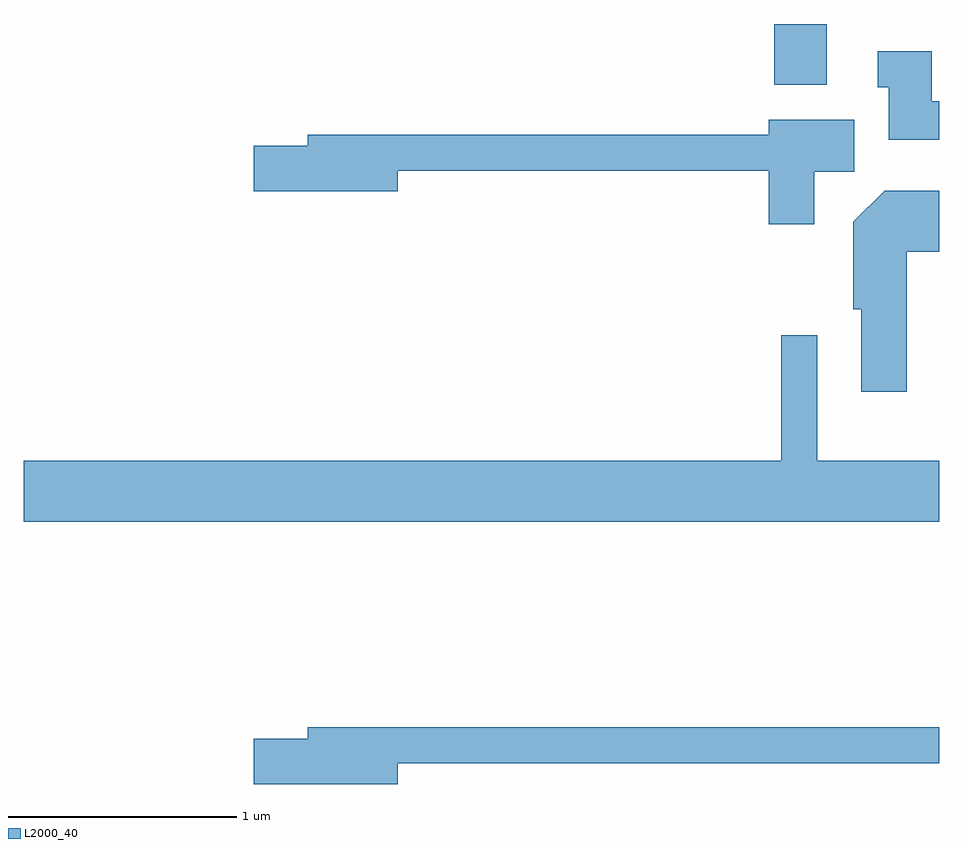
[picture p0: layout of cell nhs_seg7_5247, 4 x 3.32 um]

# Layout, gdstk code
import gdstk
lib = gdstk.Library(unit=1e-6, precision=1e-09)
def R(c, l, rs):  # rectangles x0, y0, x1, y1
    for r in rs: c.add(gdstk.rectangle(r[:2], r[2:], *l))
def P(c, l, *ps):  # polygons
    for p in ps: c.add(gdstk.Polygon(p, *l))
L2000_40 = (2000, 40)

nhs_seg7_5247 = lib.new_cell('nhs_seg7_5247')
R(nhs_seg7_5247, L2000_40, [(348.891,1733.986,349.119,1734.252)])
P(nhs_seg7_5247, L2000_40, [(349.611,1733.914),(349.579,1733.914),(349.579,1734.134),(349.343,1734.134),(349.343,1733.976),(349.391,1733.976),(349.391,1733.746),(349.611,1733.746)],
  [(349.064,1733.606),(349.239,1733.606),(349.239,1733.834),(348.866,1733.834),(348.866,1733.769),(346.851,1733.769),(346.851,1733.719),(346.616,1733.719),(346.616,1733.521),(347.244,1733.521),(347.244,1733.611),(348.866,1733.611),(348.866,1733.376),(349.064,1733.376)],
  [(349.469,1733.256),(349.611,1733.256),(349.611,1733.524),(349.374,1733.524),(349.236,1733.387),(349.236,1733.006),(349.271,1733.006),(349.271,1732.646),(349.469,1732.646)],
  [(349.611,1732.344),(349.079,1732.344),(349.079,1732.893),(348.921,1732.893),(348.921,1732.344),(345.611,1732.344),(345.611,1732.076),(349.611,1732.076)],
  [(347.244,1731.021),(349.611,1731.021),(349.611,1731.179),(346.851,1731.179),(346.851,1731.129),(346.616,1731.129),(346.616,1730.931),(347.244,1730.931)])

lib.write_gds('nhs_seg7_5247.gds')
